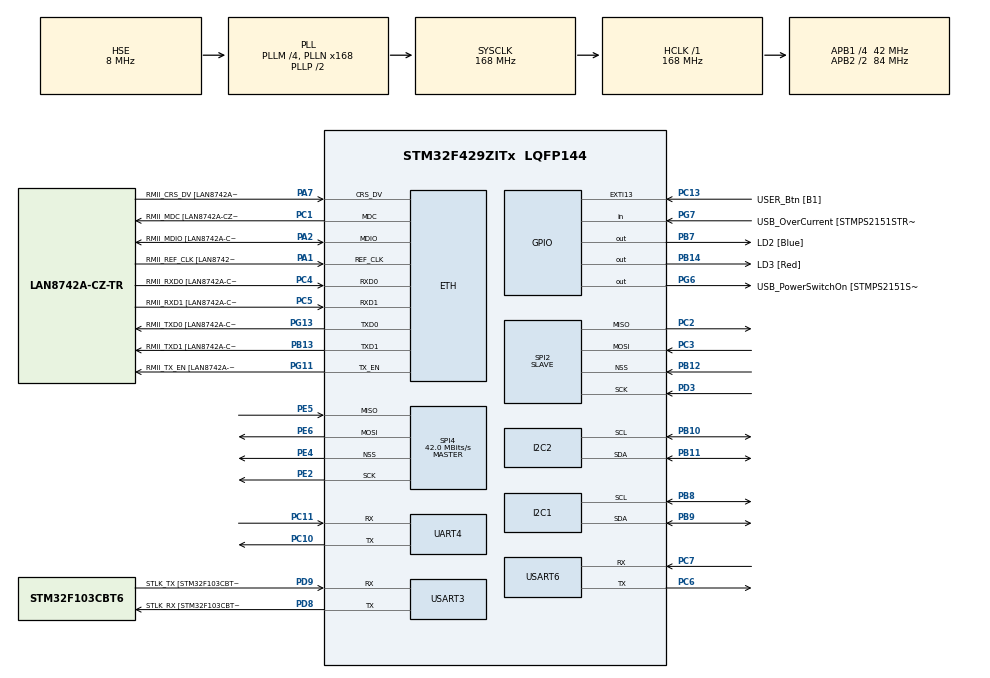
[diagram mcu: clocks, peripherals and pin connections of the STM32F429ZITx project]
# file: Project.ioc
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Dma.I2C1_TX.0.Direction=DMA_MEMORY_TO_PERIPH
Dma.I2C1_TX.0.FIFOMode=DMA_FIFOMODE_DISABLE
Dma.I2C1_TX.0.Instance=DMA1_Stream6
Dma.I2C1_TX.0.MemDataAlignment=DMA_MDATAALIGN_BYTE
Dma.I2C1_TX.0.MemInc=DMA_MINC_ENABLE
Dma.I2C1_TX.0.Mode=DMA_NORMAL
Dma.I2C1_TX.0.PeriphDataAlignment=DMA_PDATAALIGN_BYTE
Dma.I2C1_TX.0.PeriphInc=DMA_PINC_DISABLE
Dma.I2C1_TX.0.Priority=DMA_PRIORITY_LOW
Dma.I2C2_RX.1.Direction=DMA_PERIPH_TO_MEMORY
Dma.I2C2_RX.1.FIFOMode=DMA_FIFOMODE_DISABLE
Dma.I2C2_RX.1.Instance=DMA1_Stream2
Dma.I2C2_RX.1.MemDataAlignment=DMA_MDATAALIGN_BYTE
Dma.I2C2_RX.1.MemInc=DMA_MINC_ENABLE
Dma.I2C2_RX.1.Mode=DMA_NORMAL
Dma.I2C2_RX.1.PeriphDataAlignment=DMA_PDATAALIGN_BYTE
Dma.I2C2_RX.1.PeriphInc=DMA_PINC_DISABLE
Dma.I2C2_RX.1.Priority=DMA_PRIORITY_LOW
Dma.Request0=I2C1_TX
Dma.Request1=I2C2_RX
Dma.Request2=SPI4_TX
Dma.Request3=SPI2_RX
Dma.Request4=UART4_TX
Dma.Request5=USART6_RX
Dma.SPI2_RX.3.Direction=DMA_PERIPH_TO_MEMORY
Dma.SPI2_RX.3.FIFOMode=DMA_FIFOMODE_DISABLE
Dma.SPI2_RX.3.Instance=DMA1_Stream3
Dma.SPI2_RX.3.MemDataAlignment=DMA_MDATAALIGN_BYTE
Dma.SPI2_RX.3.MemInc=DMA_MINC_ENABLE
Dma.SPI2_RX.3.Mode=DMA_NORMAL
Dma.SPI2_RX.3.PeriphDataAlignment=DMA_PDATAALIGN_BYTE
Dma.SPI2_RX.3.PeriphInc=DMA_PINC_DISABLE
Dma.SPI2_RX.3.Priority=DMA_PRIORITY_LOW
Dma.SPI4_TX.2.Direction=DMA_MEMORY_TO_PERIPH
Dma.SPI4_TX.2.FIFOMode=DMA_FIFOMODE_DISABLE
Dma.SPI4_TX.2.Instance=DMA2_Stream1
Dma.SPI4_TX.2.MemDataAlignment=DMA_MDATAALIGN_BYTE
Dma.SPI4_TX.2.MemInc=DMA_MINC_ENABLE
Dma.SPI4_TX.2.Mode=DMA_NORMAL
Dma.SPI4_TX.2.PeriphDataAlignment=DMA_PDATAALIGN_BYTE
Dma.SPI4_TX.2.PeriphInc=DMA_PINC_DISABLE
Dma.SPI4_TX.2.Priority=DMA_PRIORITY_LOW
Dma.UART4_TX.4.Direction=DMA_MEMORY_TO_PERIPH
Dma.UART4_TX.4.FIFOMode=DMA_FIFOMODE_DISABLE
Dma.UART4_TX.4.Instance=DMA1_Stream4
Dma.UART4_TX.4.MemDataAlignment=DMA_MDATAALIGN_BYTE
Dma.UART4_TX.4.MemInc=DMA_MINC_ENABLE
Dma.UART4_TX.4.Mode=DMA_NORMAL
Dma.UART4_TX.4.PeriphDataAlignment=DMA_PDATAALIGN_BYTE
Dma.UART4_TX.4.PeriphInc=DMA_PINC_DISABLE
Dma.UART4_TX.4.Priority=DMA_PRIORITY_LOW
Dma.USART6_RX.5.Direction=DMA_PERIPH_TO_MEMORY
Dma.USART6_RX.5.FIFOMode=DMA_FIFOMODE_DISABLE
Dma.USART6_RX.5.Instance=DMA2_Stream2
Dma.USART6_RX.5.MemDataAlignment=DMA_MDATAALIGN_BYTE
Dma.USART6_RX.5.MemInc=DMA_MINC_ENABLE
Dma.USART6_RX.5.Mode=DMA_NORMAL
Dma.USART6_RX.5.PeriphDataAlignment=DMA_PDATAALIGN_BYTE
Dma.USART6_RX.5.PeriphInc=DMA_PINC_DISABLE
Dma.USART6_RX.5.Priority=DMA_PRIORITY_LOW
ETH.MediaInterface=ETH_MEDIA_INTERFACE_RMII
ETH.PHY_Name=LAN8742A_PHY_ADDRESS
ETH.PHY_Value=0
ETH.PhyAddress=0
I2C2.Analog_Filter=I2C_ANALOGFILTER_ENABLE
I2C2.I2C_Mode=I2C_Standard
I2C2.OwnAddress=10
LWIP.GATEWAY_ADDRESS=192.168.000.001
LWIP.IP_ADDRESS=192.168.000.132
LWIP.LWIP_DHCP=0
LWIP.MEM_SIZE=10*1024
LWIP.NETMASK_ADDRESS=255.255.255.000
LWIP.Version=v2.1.2_Cube
Mcu.Family=STM32F4
Mcu.Name=STM32F429ZITx
Mcu.Package=LQFP144
NVIC.DMA1_Stream2_IRQn=true\:0\:0\:false\:false\:true\:false\:true\:true
NVIC.DMA1_Stream3_IRQn=true\:0\:0\:false\:false\:true\:false\:true\:true
NVIC.DMA1_Stream4_IRQn=true\:0\:0\:false\:false\:true\:false\:true\:true
NVIC.DMA1_Stream6_IRQn=true\:0\:0\:false\:false\:true\:false\:true\:true
NVIC.DMA2_Stream1_IRQn=true\:0\:0\:false\:false\:true\:false\:true\:true
NVIC.DMA2_Stream2_IRQn=true\:0\:0\:false\:false\:true\:false\:true\:true
NVIC.ETH_IRQn=true\:0\:0\:false\:false\:true\:true\:true\:true
NVIC.I2C1_EV_IRQn=true\:0\:0\:false\:false\:true\:true\:true\:true
NVIC.I2C2_EV_IRQn=true\:0\:0\:false\:false\:true\:true\:true\:true
NVIC.PriorityGroup=NVIC_PRIORITYGROUP_4
NVIC.SPI2_IRQn=true\:0\:0\:false\:false\:true\:true\:true\:true
NVIC.SPI4_IRQn=true\:0\:0\:false\:false\:true\:true\:true\:true
NVIC.UART4_IRQn=true\:0\:0\:false\:false\:true\:true\:true\:true
NVIC.USART6_IRQn=true\:0\:0\:false\:false\:true\:true\:true\:true
PA1.GPIO_Label=RMII_REF_CLK [LAN8742A-CZ-TR_REFCLK0]
PA1.Mode=RMII
PA1.Signal=ETH_REF_CLK
PA10.GPIO_Label=USB_ID
PA10.Signal=USB_OTG_FS_ID
PA11.GPIO_Label=USB_DM
PA11.Signal=USB_OTG_FS_DM
PA12.GPIO_Label=USB_DP
PA12.Signal=USB_OTG_FS_DP
PA13.GPIO_Label=TMS
PA13.Mode=Serial_Wire
PA13.Signal=SYS_JTMS-SWDIO
PA14.GPIO_Label=TCK
PA14.Mode=Serial_Wire
PA14.Signal=SYS_JTCK-SWCLK
PA2.GPIO_Label=RMII_MDIO [LAN8742A-CZ-TR_MDIO]
PA2.Mode=RMII
PA2.Signal=ETH_MDIO
PA7.GPIO_Label=RMII_CRS_DV [LAN8742A-CZ-TR_CRS_DV]
PA7.Mode=RMII
PA7.Signal=ETH_CRS_DV
PA8.GPIO_Label=USB_SOF [TP1]
PA8.Signal=USB_OTG_FS_SOF
PA9.GPIO_Label=USB_VBUS
PA9.Signal=USB_OTG_FS_VBUS
PB0.Signal=ETH_RXD2
PB10.GPIO_Pu=GPIO_PULLUP
PB10.Mode=I2C
PB10.Signal=I2C2_SCL
PB11.GPIO_Pu=GPIO_PULLUP
PB11.Mode=I2C
PB11.Signal=I2C2_SDA
PB12.Mode=NSS_Signal_Hard_Input
PB12.Signal=SPI2_NSS
PB13.GPIO_Label=RMII_TXD1 [LAN8742A-CZ-TR_TXD1]
PB13.Mode=RMII
PB13.Signal=ETH_TXD1
PB14.GPIO_Label=LD3 [Red]
PB14.Signal=GPIO_Output
PB7.GPIO_Label=LD2 [Blue]
PB7.Signal=GPIO_Output
PB8.GPIO_Pu=GPIO_PULLUP
PB8.Mode=I2C
PB8.Signal=I2C1_SCL
PB9.GPIO_Pu=GPIO_PULLUP
PB9.Mode=I2C
PB9.Signal=I2C1_SDA
PC1.GPIO_Label=RMII_MDC [LAN8742A-CZ-TR_MDC]
PC1.Mode=RMII
PC1.Signal=ETH_MDC
PC10.Mode=Asynchronous
PC10.Signal=UART4_TX
PC11.Mode=Asynchronous
PC11.Signal=UART4_RX
PC13.GPIO_Label=USER_Btn [B1]
PC13.Signal=GPXTI13
PC14/OSC32_IN.Mode=LSE-External-Oscillator
PC14/OSC32_IN.Signal=RCC_OSC32_IN
PC15/OSC32_OUT.Mode=LSE-External-Oscillator
PC15/OSC32_OUT.Signal=RCC_OSC32_OUT
PC2.Mode=Full_Duplex_Slave
PC2.Signal=SPI2_MISO
PC3.Mode=Full_Duplex_Slave
PC3.Signal=SPI2_MOSI
PC4.GPIO_Label=RMII_RXD0 [LAN8742A-CZ-TR_RXD0]
PC4.Mode=RMII
PC4.Signal=ETH_RXD0
PC5.GPIO_Label=RMII_RXD1 [LAN8742A-CZ-TR_RXD1]
PC5.Mode=RMII
PC5.Signal=ETH_RXD1
PC6.Mode=Asynchronous
PC6.Signal=USART6_TX
PC7.Mode=Asynchronous
PC7.Signal=USART6_RX
PD3.Mode=Full_Duplex_Slave
PD3.Signal=SPI2_SCK
PD8.GPIO_Label=STLK_RX [STM32F103CBT6_PA3]
PD8.Mode=Asynchronous
PD8.Signal=USART3_TX
PD9.GPIO_Label=STLK_TX [STM32F103CBT6_PA2]
PD9.Mode=Asynchronous
PD9.Signal=USART3_RX
PE2.Mode=Full_Duplex_Master
PE2.Signal=SPI4_SCK
PE4.Mode=NSS_Signal_Hard_Output
PE4.Signal=SPI4_NSS
PE5.Mode=Full_Duplex_Master
PE5.Signal=SPI4_MISO
PE6.Mode=Full_Duplex_Master
PE6.Signal=SPI4_MOSI
PG11.GPIO_Label=RMII_TX_EN [LAN8742A-CZ-TR_TXEN]
PG11.Mode=RMII
PG11.Signal=ETH_TX_EN
PG13.GPIO_Label=RMII_TXD0 [LAN8742A-CZ-TR_TXD0]
PG13.Mode=RMII
PG13.Signal=ETH_TXD0
PG6.GPIO_Label=USB_PowerSwitchOn [STMPS2151STR_EN]
PG6.Signal=GPIO_Output
PG7.GPIO_Label=USB_OverCurrent [STMPS2151STR_FAULT]
PG7.Signal=GPIO_Input
PH0/OSC_IN.GPIO_Label=MCO [STM32F103CBT6_PA8]
PH0/OSC_IN.Mode=HSE-External-Clock-Source
PH0/OSC_IN.Signal=RCC_OSC_IN
PH1/OSC_OUT.Mode=HSE-External-Clock-Source
PH1/OSC_OUT.Signal=RCC_OSC_OUT
ProjectManager.HeapSize=0x200
ProjectManager.StackSize=0x400
ProjectManager.TargetToolchain=STM32CubeIDE
RCC.48MHZClocksFreq_Value=48000000
RCC.AHBFreq_Value=168000000
RCC.APB1CLKDivider=RCC_HCLK_DIV4
RCC.APB1Freq_Value=42000000
RCC.APB1TimFreq_Value=84000000
RCC.APB2CLKDivider=RCC_HCLK_DIV2
RCC.APB2Freq_Value=84000000
RCC.APB2TimFreq_Value=168000000
RCC.CortexFreq_Value=168000000
RCC.HCLKFreq_Value=168000000
RCC.HSE_VALUE=8000000
RCC.HSI_VALUE=16000000
RCC.PLLM=4
RCC.PLLMUL=RCC_PLL_MUL9
RCC.PLLN=168
RCC.PLLQ=7
RCC.PLLSourceVirtual=RCC_PLLSOURCE_HSE
RCC.PRESCALERUSB=RCC_USBCLKSOURCE_PLL_DIV1_5
RCC.SYSCLKFreq_VALUE=168000000
RCC.SYSCLKSource=RCC_SYSCLKSOURCE_PLLCLK
RCC.SYSCLKSourceVirtual=RCC_SYSCLKSOURCE_PLLCLK
RCC.USBFreq_Value=48000000
RCC.VCOOutputFreq_Value=336000000
SPI2.Direction=SPI_DIRECTION_2LINES
SPI2.Mode=SPI_MODE_SLAVE
SPI2.VirtualNSS=VM_NSSHARD
SPI2.VirtualType=VM_SLAVE
SPI4.CalculateBaudRate=42.0 MBits/s
SPI4.Direction=SPI_DIRECTION_2LINES
SPI4.Mode=SPI_MODE_MASTER
SPI4.VirtualNSS=VM_NSSHARD
SPI4.VirtualType=VM_MASTER
UART4.VirtualMode=Asynchronous
USART3.VirtualMode=VM_ASYNC
USART6.VirtualMode=VM_ASYNC
VP_LWIP_VS_Enabled.Mode=Enabled
board=NUCLEO-F429ZI

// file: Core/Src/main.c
/* USER CODE BEGIN Header */
/**
  ******************************************************************************
  * @file           : main.c
  * @brief          : Main program body
  ******************************************************************************
  * @attention
  *
  * <h2><center>&copy; Copyright (c) 2021 STMicroelectronics.
  * All rights reserved.</center></h2>
  *
  * This software component is licensed by ST under BSD 3-Clause license,
  * the "License"; You may not use this file except in compliance with the
  * License. You may obtain a copy of the License at:
  *                        opensource.org/licenses/BSD-3-Clause
  *
  ******************************************************************************
  */
/* USER CODE END Header */
#include "main.h"
#include "lwip.h"

/* USER CODE BEGIN Includes */
#include "udpServerRAW.h"
#include "string.h"
#include "udp.h"
/* USER CODE END Includes */

I2C_HandleTypeDef hi2c1;
I2C_HandleTypeDef hi2c2;
DMA_HandleTypeDef hdma_i2c1_tx;
DMA_HandleTypeDef hdma_i2c2_rx;

SPI_HandleTypeDef hspi2;
SPI_HandleTypeDef hspi4;
DMA_HandleTypeDef hdma_spi2_rx;
DMA_HandleTypeDef hdma_spi4_tx;

UART_HandleTypeDef huart4;
UART_HandleTypeDef huart3;
UART_HandleTypeDef huart6;
DMA_HandleTypeDef hdma_uart4_tx;
DMA_HandleTypeDef hdma_usart6_rx;

/* USER CODE BEGIN PV */
extern struct netif gnetif;
struct udp_pcb *udp_info;
char received = 0;
char I2Cflag = 0;
char SPIflag = 0;
char UARTflag = 0;
char protocol = 3;
char mem[101] = { 0 };
char header[110];
int len;
int UDPlen;
/* USER CODE END PV */

void SystemClock_Config(void);
static void MX_GPIO_Init(void);
static void MX_DMA_Init(void);
static void MX_USART3_UART_Init(void);
static void MX_I2C1_Init(void);
static void MX_I2C2_Init(void);
static void MX_SPI2_Init(void);
static void MX_SPI4_Init(void);
static void MX_UART4_Init(void);
static void MX_USART6_UART_Init(void);
/* USER CODE BEGIN PFP */
void HAL_SPI_RxCpltCallback(SPI_HandleTypeDef *hspi)
{
	SPIflag = 1;
}

void HAL_I2C_SlaveRxCpltCallback(I2C_HandleTypeDef *hi2c)
{
	I2Cflag = 1;
}

void HAL_UART_RxCpltCallback(UART_HandleTypeDef *huart)
{
	UARTflag = 1;
}
void udp_transmit(struct udp_pcb *upcb, int len, char mem[100])
{
//  prepare variables
	ip_addr_t addr = upcb->remote_ip;
	u16_t port = upcb->remote_port;
//	prepare buffer
	struct pbuf *txBuf;
	txBuf = pbuf_alloc(PBUF_TRANSPORT,len, PBUF_RAM);
	pbuf_take(txBuf, mem, len);
//	send data
	udp_connect(upcb, &addr, port);
	udp_send(upcb, txBuf);
	udp_disconnect(upcb);
//	release buffer
	pbuf_free(txBuf);
}

char Timeout(char * flag)
{
	int Ctime = HAL_GetTick();
	while(*flag == 0)
	{
		if(Ctime + 10 < HAL_GetTick())
		{
			return 1;
		}
	}

	return 0;
}
void ReleaseDMA(DMA_HandleTypeDef *hdma1, DMA_HandleTypeDef *hdma2)
{
	HAL_DMA_Abort(hdma1);
	HAL_DMA_Abort(hdma2);
}
/* USER CODE END PFP */

int main(void)
{
  /* USER CODE BEGIN 1 */
	char send[100]= { 0 };
  /* USER CODE END 1 */

  /* MCU Configuration--------------------------------------------------------*/

  /* Reset of all peripherals, Initializes the Flash interface and the Systick. */
  HAL_Init();

  /* Configure the system clock */
  SystemClock_Config();

  /* Initialize all configured peripherals */
  MX_GPIO_Init();
  MX_DMA_Init();
  MX_USART3_UART_Init();
  MX_LWIP_Init();
  MX_I2C1_Init();
  MX_I2C2_Init();
  MX_SPI2_Init();
  MX_SPI4_Init();
  MX_UART4_Init();
  MX_USART6_UART_Init();
  /* USER CODE BEGIN 2 */
  udpServer_init();
  /* USER CODE END 2 */

  /* Infinite loop */
  while (1)
  {

    /* USER CODE BEGIN 3 */
	  ethernetif_input(&gnetif);
	  sys_check_timeouts();
	  if(received)
	  {
		  protocol = mem[0];
		  if(len >= 1)
		  {
			  if(protocol == '1')
			  {
				  //SPI send and receive
				  HAL_SPI_Receive_DMA(&hspi2, (uint8_t *)send, len);
				  HAL_SPI_Transmit_DMA(&hspi4, (uint8_t *)&mem[1], len);
				  //wait for the data to be received
				  if(Timeout(&SPIflag) == 0)
				  {
					  //add header to the data
					  UDPlen = sprintf(header, "SPI- %s\n\r", send);
				  }
				  //error handling
				  else
				  {
					  ReleaseDMA(&hspi2, &hspi4);
					  UDPlen = sprintf(header, "Error");
					  SPIflag = 1;
				  }
			  }
			  else if(protocol == '2')
			  {
				  //I2C send and receive
				  HAL_I2C_Master_Transmit_DMA(&hi2c1, 20, (uint8_t *)&mem[1], len);
				  HAL_I2C_Slave_Receive_DMA(&hi2c2, (uint8_t *)send, len);
				  //wait for the data to be received
				  if(Timeout(&I2Cflag) == 0)
				  {
					  //add a header to the data and prepare it to be sent back
					  UDPlen = sprintf(header, "I2C- %s\n\r", send);
				  }
				  //error handling
				  else
				  {
					  ReleaseDMA(&hi2c1, &hi2c2);
					  UDPlen = sprintf(header, "Error");
					  I2Cflag = 1;
				  }
			  }
			  else if(protocol == '3')
			  {
				  //UART send and receive
				  HAL_UART_Receive_DMA(&huart6, (uint8_t *)send, len);
				  HAL_UART_Transmit_DMA(&huart4, (uint8_t *)&mem[1], len);
				  //wait for the data to be received
				  if(Timeout(&UARTflag) == 0)
				  {
					  //add a header to the data and prepare it to be sent back
					  UDPlen = sprintf(header, "UART - %s\n\r", send);
				  }
				  //error handling
				  else
				  {
					  ReleaseDMA(&hi2c1, &hi2c2);
					  UDPlen = sprintf(header, "Error");
					  UARTflag = 1;
				  }
			  }
			  else
			  {
				  UDPlen = sprintf(header, "Unknown Protocol");
				  UARTflag = 1;
			  }
		  }
		  else
		  {
			  UDPlen = sprintf(header, "Empty Packet");
			  UARTflag = 1;
		  }
		  received = 0;
	  }
	  /* USER CODE END WHILE */

	  /* USER CODE BEGIN 3 */
	  if(I2Cflag || SPIflag ||UARTflag)
	  {
		  //send back data + header
		  header[UDPlen + 1] = 0;
		  udp_transmit(udp_info, UDPlen, header);
		  //reset variables
		  I2Cflag = 0;
		  SPIflag = 0;
		  UARTflag = 0;
		  //reset memory back to 0
		  memset(send, 0, 100);
	  }

  }
  /* USER CODE END 3 */
}

void SystemClock_Config(void)
{
  RCC_OscInitTypeDef RCC_OscInitStruct = {0};
  RCC_ClkInitTypeDef RCC_ClkInitStruct = {0};

  /** Configure the main internal regulator output voltage
  */
  __HAL_RCC_PWR_CLK_ENABLE();
  __HAL_PWR_VOLTAGESCALING_CONFIG(PWR_REGULATOR_VOLTAGE_SCALE1);
  /** Initializes the RCC Oscillators according to the specified parameters
  * in the RCC_OscInitTypeDef structure.
  */
  RCC_OscInitStruct.OscillatorType = RCC_OSCILLATORTYPE_HSE;
  RCC_OscInitStruct.HSEState = RCC_HSE_BYPASS;
  RCC_OscInitStruct.PLL.PLLState = RCC_PLL_ON;
  RCC_OscInitStruct.PLL.PLLSource = RCC_PLLSOURCE_HSE;
  RCC_OscInitStruct.PLL.PLLM = 4;
  RCC_OscInitStruct.PLL.PLLN = 168;
  RCC_OscInitStruct.PLL.PLLP = RCC_PLLP_DIV2;
  RCC_OscInitStruct.PLL.PLLQ = 7;
  if (HAL_RCC_OscConfig(&RCC_OscInitStruct) != HAL_OK)
  {
    Error_Handler();
  }
  /** Initializes the CPU, AHB and APB buses clocks
  */
  RCC_ClkInitStruct.ClockType = RCC_CLOCKTYPE_HCLK|RCC_CLOCKTYPE_SYSCLK
                              |RCC_CLOCKTYPE_PCLK1|RCC_CLOCKTYPE_PCLK2;
  RCC_ClkInitStruct.SYSCLKSource = RCC_SYSCLKSOURCE_PLLCLK;
  RCC_ClkInitStruct.AHBCLKDivider = RCC_SYSCLK_DIV1;
  RCC_ClkInitStruct.APB1CLKDivider = RCC_HCLK_DIV4;
  RCC_ClkInitStruct.APB2CLKDivider = RCC_HCLK_DIV2;

  if (HAL_RCC_ClockConfig(&RCC_ClkInitStruct, FLASH_LATENCY_5) != HAL_OK)
  {
    Error_Handler();
  }
}

static void MX_I2C1_Init(void)
{

  hi2c1.Instance = I2C1;
  hi2c1.Init.ClockSpeed = 100000;
  hi2c1.Init.DutyCycle = I2C_DUTYCYCLE_2;
  hi2c1.Init.OwnAddress1 = 0;
  hi2c1.Init.AddressingMode = I2C_ADDRESSINGMODE_7BIT;
  hi2c1.Init.DualAddressMode = I2C_DUALADDRESS_DISABLE;
  hi2c1.Init.OwnAddress2 = 0;
  hi2c1.Init.GeneralCallMode = I2C_GENERALCALL_DISABLE;
  hi2c1.Init.NoStretchMode = I2C_NOSTRETCH_DISABLE;
  if (HAL_I2C_Init(&hi2c1) != HAL_OK)
  {
    Error_Handler();
  }
  /** Configure Analogue filter
  */
  if (HAL_I2CEx_ConfigAnalogFilter(&hi2c1, I2C_ANALOGFILTER_ENABLE) != HAL_OK)
  {
    Error_Handler();
  }
  /** Configure Digital filter
  */
  if (HAL_I2CEx_ConfigDigitalFilter(&hi2c1, 0) != HAL_OK)
  {
    Error_Handler();
  }

}

static void MX_I2C2_Init(void)
{

  hi2c2.Instance = I2C2;
  hi2c2.Init.ClockSpeed = 100000;
  hi2c2.Init.DutyCycle = I2C_DUTYCYCLE_2;
  hi2c2.Init.OwnAddress1 = 20;
  hi2c2.Init.AddressingMode = I2C_ADDRESSINGMODE_7BIT;
  hi2c2.Init.DualAddressMode = I2C_DUALADDRESS_DISABLE;
  hi2c2.Init.OwnAddress2 = 0;
  hi2c2.Init.GeneralCallMode = I2C_GENERALCALL_DISABLE;
  hi2c2.Init.NoStretchMode = I2C_NOSTRETCH_DISABLE;
  if (HAL_I2C_Init(&hi2c2) != HAL_OK)
  {
    Error_Handler();
  }
  /** Configure Analogue filter
  */
  if (HAL_I2CEx_ConfigAnalogFilter(&hi2c2, I2C_ANALOGFILTER_ENABLE) != HAL_OK)
  {
    Error_Handler();
  }
  /** Configure Digital filter
  */
  if (HAL_I2CEx_ConfigDigitalFilter(&hi2c2, 0) != HAL_OK)
  {
    Error_Handler();
  }

}

static void MX_SPI2_Init(void)
{

  /* SPI2 parameter configuration*/
  hspi2.Instance = SPI2;
  hspi2.Init.Mode = SPI_MODE_SLAVE;
  hspi2.Init.Direction = SPI_DIRECTION_2LINES;
  hspi2.Init.DataSize = SPI_DATASIZE_8BIT;
  hspi2.Init.CLKPolarity = SPI_POLARITY_LOW;
  hspi2.Init.CLKPhase = SPI_PHASE_1EDGE;
  hspi2.Init.NSS = SPI_NSS_HARD_INPUT;
  hspi2.Init.FirstBit = SPI_FIRSTBIT_MSB;
  hspi2.Init.TIMode = SPI_TIMODE_DISABLE;
  hspi2.Init.CRCCalculation = SPI_CRCCALCULATION_DISABLE;
  hspi2.Init.CRCPolynomial = 10;
  if (HAL_SPI_Init(&hspi2) != HAL_OK)
  {
    Error_Handler();
  }

}

static void MX_SPI4_Init(void)
{

  /* SPI4 parameter configuration*/
  hspi4.Instance = SPI4;
  hspi4.Init.Mode = SPI_MODE_MASTER;
  hspi4.Init.Direction = SPI_DIRECTION_2LINES;
  hspi4.Init.DataSize = SPI_DATASIZE_8BIT;
  hspi4.Init.CLKPolarity = SPI_POLARITY_LOW;
  hspi4.Init.CLKPhase = SPI_PHASE_1EDGE;
  hspi4.Init.NSS = SPI_NSS_HARD_OUTPUT;
  hspi4.Init.BaudRatePrescaler = SPI_BAUDRATEPRESCALER_2;
  hspi4.Init.FirstBit = SPI_FIRSTBIT_MSB;
  hspi4.Init.TIMode = SPI_TIMODE_DISABLE;
  hspi4.Init.CRCCalculation = SPI_CRCCALCULATION_DISABLE;
  hspi4.Init.CRCPolynomial = 10;
  if (HAL_SPI_Init(&hspi4) != HAL_OK)
  {
    Error_Handler();
  }

}

static void MX_UART4_Init(void)
{

  huart4.Instance = UART4;
  huart4.Init.BaudRate = 115200;
  huart4.Init.WordLength = UART_WORDLENGTH_8B;
  huart4.Init.StopBits = UART_STOPBITS_1;
  huart4.Init.Parity = UART_PARITY_NONE;
  huart4.Init.Mode = UART_MODE_TX_RX;
  huart4.Init.HwFlowCtl = UART_HWCONTROL_NONE;
  huart4.Init.OverSampling = UART_OVERSAMPLING_16;
  if (HAL_UART_Init(&huart4) != HAL_OK)
  {
    Error_Handler();
  }

}

static void MX_USART3_UART_Init(void)
{

  huart3.Instance = USART3;
  huart3.Init.BaudRate = 115200;
  huart3.Init.WordLength = UART_WORDLENGTH_8B;
  huart3.Init.StopBits = UART_STOPBITS_1;
  huart3.Init.Parity = UART_PARITY_NONE;
  huart3.Init.Mode = UART_MODE_TX_RX;
  huart3.Init.HwFlowCtl = UART_HWCONTROL_NONE;
  huart3.Init.OverSampling = UART_OVERSAMPLING_16;
  if (HAL_UART_Init(&huart3) != HAL_OK)
  {
    Error_Handler();
  }

}

static void MX_USART6_UART_Init(void)
{

  huart6.Instance = USART6;
  huart6.Init.BaudRate = 115200;
  huart6.Init.WordLength = UART_WORDLENGTH_8B;
  huart6.Init.StopBits = UART_STOPBITS_1;
  huart6.Init.Parity = UART_PARITY_NONE;
  huart6.Init.Mode = UART_MODE_TX_RX;
  huart6.Init.HwFlowCtl = UART_HWCONTROL_NONE;
  huart6.Init.OverSampling = UART_OVERSAMPLING_16;
  if (HAL_UART_Init(&huart6) != HAL_OK)
  {
    Error_Handler();
  }

}

static void MX_DMA_Init(void)
{

  /* DMA controller clock enable */
  __HAL_RCC_DMA1_CLK_ENABLE();
  __HAL_RCC_DMA2_CLK_ENABLE();

  /* DMA interrupt init */
  /* DMA1_Stream2_IRQn interrupt configuration */
  HAL_NVIC_SetPriority(DMA1_Stream2_IRQn, 0, 0);
  HAL_NVIC_EnableIRQ(DMA1_Stream2_IRQn);
  /* DMA1_Stream3_IRQn interrupt configuration */
  HAL_NVIC_SetPriority(DMA1_Stream3_IRQn, 0, 0);
  HAL_NVIC_EnableIRQ(DMA1_Stream3_IRQn);
  /* DMA1_Stream4_IRQn interrupt configuration */
  HAL_NVIC_SetPriority(DMA1_Stream4_IRQn, 0, 0);
  HAL_NVIC_EnableIRQ(DMA1_Stream4_IRQn);
  /* DMA1_Stream6_IRQn interrupt configuration */
  HAL_NVIC_SetPriority(DMA1_Stream6_IRQn, 0, 0);
  HAL_NVIC_EnableIRQ(DMA1_Stream6_IRQn);
  /* DMA2_Stream1_IRQn interrupt configuration */
  HAL_NVIC_SetPriority(DMA2_Stream1_IRQn, 0, 0);
  HAL_NVIC_EnableIRQ(DMA2_Stream1_IRQn);
  /* DMA2_Stream2_IRQn interrupt configuration */
  HAL_NVIC_SetPriority(DMA2_Stream2_IRQn, 0, 0);
  HAL_NVIC_EnableIRQ(DMA2_Stream2_IRQn);

}

static void MX_GPIO_Init(void)
{
  GPIO_InitTypeDef GPIO_InitStruct = {0};

  /* GPIO Ports Clock Enable */
  __HAL_RCC_GPIOE_CLK_ENABLE();
  __HAL_RCC_GPIOC_CLK_ENABLE();
  __HAL_RCC_GPIOH_CLK_ENABLE();
  __HAL_RCC_GPIOA_CLK_ENABLE();
  __HAL_RCC_GPIOB_CLK_ENABLE();
  __HAL_RCC_GPIOD_CLK_ENABLE();
  __HAL_RCC_GPIOG_CLK_ENABLE();

  /*Configure GPIO pin Output Level */
  HAL_GPIO_WritePin(GPIOB, LD3_Pin|LD2_Pin, GPIO_PIN_RESET);

  /*Configure GPIO pin Output Level */
  HAL_GPIO_WritePin(USB_PowerSwitchOn_GPIO_Port, USB_PowerSwitchOn_Pin, GPIO_PIN_RESET);

  /*Configure GPIO pin : USER_Btn_Pin */
  GPIO_InitStruct.Pin = USER_Btn_Pin;
  GPIO_InitStruct.Mode = GPIO_MODE_IT_RISING;
  GPIO_InitStruct.Pull = GPIO_NOPULL;
  HAL_GPIO_Init(USER_Btn_GPIO_Port, &GPIO_InitStruct);

  /*Configure GPIO pins : LD3_Pin LD2_Pin */
  GPIO_InitStruct.Pin = LD3_Pin|LD2_Pin;
  GPIO_InitStruct.Mode = GPIO_MODE_OUTPUT_PP;
  GPIO_InitStruct.Pull = GPIO_NOPULL;
  GPIO_InitStruct.Speed = GPIO_SPEED_FREQ_LOW;
  HAL_GPIO_Init(GPIOB, &GPIO_InitStruct);

  /*Configure GPIO pin : USB_PowerSwitchOn_Pin */
  GPIO_InitStruct.Pin = USB_PowerSwitchOn_Pin;
  GPIO_InitStruct.Mode = GPIO_MODE_OUTPUT_PP;
  GPIO_InitStruct.Pull = GPIO_NOPULL;
  GPIO_InitStruct.Speed = GPIO_SPEED_FREQ_LOW;
  HAL_GPIO_Init(USB_PowerSwitchOn_GPIO_Port, &GPIO_InitStruct);

  /*Configure GPIO pin : USB_OverCurrent_Pin */
  GPIO_InitStruct.Pin = USB_OverCurrent_Pin;
  GPIO_InitStruct.Mode = GPIO_MODE_INPUT;
  GPIO_InitStruct.Pull = GPIO_NOPULL;
  HAL_GPIO_Init(USB_OverCurrent_GPIO_Port, &GPIO_InitStruct);

  /*Configure GPIO pins : USB_SOF_Pin USB_ID_Pin USB_DM_Pin USB_DP_Pin */
  GPIO_InitStruct.Pin = USB_SOF_Pin|USB_ID_Pin|USB_DM_Pin|USB_DP_Pin;
  GPIO_InitStruct.Mode = GPIO_MODE_AF_PP;
  GPIO_InitStruct.Pull = GPIO_NOPULL;
  GPIO_InitStruct.Speed = GPIO_SPEED_FREQ_VERY_HIGH;
  GPIO_InitStruct.Alternate = GPIO_AF10_OTG_FS;
  HAL_GPIO_Init(GPIOA, &GPIO_InitStruct);

  /*Configure GPIO pin : USB_VBUS_Pin */
  GPIO_InitStruct.Pin = USB_VBUS_Pin;
  GPIO_InitStruct.Mode = GPIO_MODE_INPUT;
  GPIO_InitStruct.Pull = GPIO_NOPULL;
  HAL_GPIO_Init(USB_VBUS_GPIO_Port, &GPIO_InitStruct);

}

void Error_Handler(void)
{
  __disable_irq();
  while (1)
  {
  }
}

/************************ (C) COPYRIGHT STMicroelectronics *****END OF FILE****/
